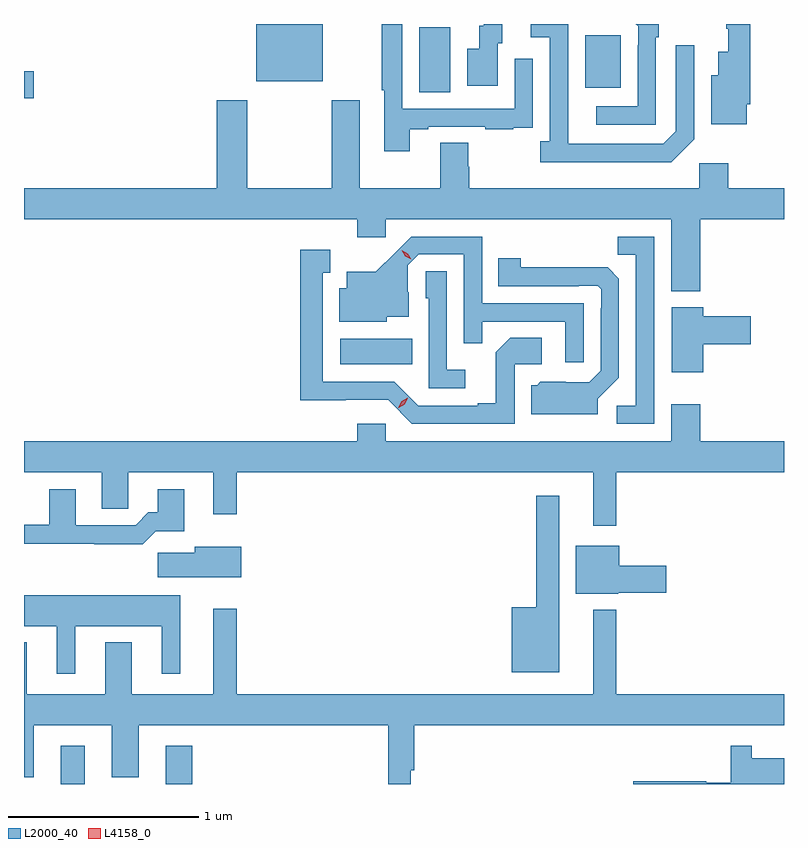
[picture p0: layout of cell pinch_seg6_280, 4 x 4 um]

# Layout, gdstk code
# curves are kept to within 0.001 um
import gdstk
lib = gdstk.Library(unit=1e-6, precision=1e-09)
def R(c, l, rs):  # rectangles x0, y0, x1, y1
    for r in rs: c.add(gdstk.rectangle(r[:2], r[2:], *l))
def P(c, l, *ps):  # polygons
    for p in ps: c.add(gdstk.Polygon(p, *l))
L2000_40 = (2000, 40)
L4158_0 = (4158, 0)

pinch_seg6_280 = lib.new_cell('pinch_seg6_280')
R(pinch_seg6_280, L2000_40, [(867.617,993.648,867.745,993.85), (868.169,993.648,868.31,993.85), (869.088,995.858,869.468,995.992), (867.424,997.258,867.475,997.4), (869.504,997.288,869.668,997.632), (870.377,997.313,870.565,997.588), (868.646,997.346,868.996,997.648)])
P(pinch_seg6_280, L2000_40, [(870.75,997.577),(870.765,997.577),(870.765,997.648),(870.644,997.648),(870.657,997.635),(870.657,997.535),(870.654,997.535),(870.654,997.215),(870.435,997.215),(870.435,997.119),(870.75,997.119)],
  [(869.917,997.548),(869.941,997.548),(869.941,997.648),(869.844,997.648),(869.844,997.638),(869.819,997.638),(869.819,997.519),(869.756,997.519),(869.756,997.323),(869.917,997.323)],
  [(869.455,997.095),(869.551,997.095),(869.551,997.107),(869.851,997.107),(869.851,997.095),(869.999,997.095),(869.999,997.101),(870.101,997.101),(870.101,997.21),(870.102,997.21),(870.102,997.465),(870.006,997.465),(870.006,997.203),(869.415,997.203),(869.415,997.648),(869.307,997.648),(869.307,997.3),(869.319,997.3),(869.319,996.978),(869.455,996.978)],
  [(871.228,997.225),(871.247,997.225),(871.247,997.648),(871.119,997.648),(871.119,997.623),(871.13,997.623),(871.13,997.501),(871.079,997.501),(871.079,997.378),(871.04,997.378),(871.04,997.121),(871.228,997.121)],
  [(870.951,997.041),(870.951,997.537),(870.855,997.537),(870.855,997.083),(870.789,997.017),(870.289,997.017),(870.288,997.648),(870.09,997.648),(870.09,997.578),(870.192,997.578),(870.192,997.03),(870.141,997.03),(870.141,996.92),(870.83,996.92)],
  [(869.044,997.246),(869.044,996.784),(868.599,996.784),(868.599,997.246),(868.439,997.246),(868.439,996.784),(867.424,996.784),(867.424,996.62),(869.177,996.62),(869.177,996.525),(869.328,996.525),(869.328,996.62),(870.83,996.62),(870.83,996.242),(870.983,996.242),(870.983,996.62),(871.424,996.62),(871.424,996.784),(871.13,996.784),(871.13,996.916),(870.978,996.916),(870.978,996.784),(869.768,996.784),(869.768,996.897),(869.763,996.897),(869.763,997.022),(869.615,997.022),(869.615,996.784),(869.191,996.784),(869.191,997.246)],
  [(870.369,996.177),(869.835,996.177),(869.835,996.528),(869.462,996.528),(869.275,996.343),(869.123,996.343),(869.123,996.256),(869.084,996.256),(869.084,996.08),(869.334,996.08),(869.334,996.107),(869.449,996.107),(869.449,996.236),(869.445,996.236),(869.445,996.378),(869.502,996.435),(869.739,996.435),(869.739,995.968),(869.837,995.968),(869.837,996.081),(870.273,996.081),(870.273,995.868),(870.369,995.868)],
  [(870.741,996.528),(870.55,996.528),(870.55,996.433),(870.645,996.433),(870.645,995.64),(870.543,995.64),(870.543,995.544),(870.741,995.544)],
  [(870.006,995.856),(870.148,995.856),(870.148,995.996),(869.983,995.996),(869.907,995.92),(869.907,995.653),(869.813,995.653),(869.813,995.64),(869.499,995.64),(869.373,995.766),(868.996,995.766),(868.996,996.339),(869.035,996.339),(869.035,996.46),(868.878,996.46),(868.878,995.669),(869.34,995.67),(869.466,995.544),(870.006,995.544)],
  [(870.445,995.676),(870.555,995.786),(870.555,996.308),(870.496,996.367),(870.039,996.368),(870.039,996.415),(869.92,996.415),(869.92,996.267),(870.344,996.267),(870.344,996.27),(870.444,996.27),(870.462,996.252),(870.462,996.152),(870.459,996.152),(870.459,995.823),(870.399,995.763),(870.142,995.764),(870.126,995.748),(870.095,995.748),(870.095,995.594),(870.445,995.594)],
  [(869.746,995.827),(869.649,995.827),(869.649,996.347),(869.538,996.347),(869.538,996.204),(869.553,996.204),(869.553,995.73),(869.746,995.73)],
  [(871,995.963),(871.249,995.963),(871.249,996.11),(871,996.11),(871,996.157),(870.833,996.157),(870.833,995.814),(871,995.814)],
  [(870.541,995.288),(871.424,995.288),(871.424,995.452),(870.983,995.452),(870.983,995.647),(870.83,995.647),(870.83,995.452),(869.328,995.452),(869.328,995.545),(869.177,995.545),(869.177,995.452),(867.424,995.452),(867.424,995.288),(867.833,995.288),(867.833,995.098),(867.972,995.098),(867.972,995.288),(868.421,995.288),(868.421,995.067),(868.543,995.067),(868.543,995.288),(870.419,995.288),(870.419,995.007),(870.541,995.007)],
  [(868.118,994.979),(868.267,994.979),(868.267,995.2),(868.127,995.2),(868.127,995.077),(868.078,995.077),(868.011,995.01),(867.697,995.01),(867.697,995.2),(867.557,995.2),(867.557,995.013),(867.424,995.013),(867.424,994.912),(867.793,994.912),(867.793,994.91),(868.049,994.91)],
  [(870.241,995.164),(870.12,995.164),(870.12,994.579),(869.99,994.579),(869.99,994.235),(870.241,994.235)],
  [(870.552,994.655),(870.805,994.655),(870.805,994.797),(870.556,994.797),(870.556,994.903),(870.329,994.903),(870.329,994.649),(870.552,994.649)],
  [(868.567,994.897),(868.322,994.897),(868.322,994.865),(868.128,994.865),(868.128,994.736),(868.567,994.736)],
  [(867.694,994.478),(868.148,994.478),(868.148,994.227),(868.246,994.227),(868.246,994.642),(867.424,994.642),(867.424,994.478),(867.596,994.478),(867.596,994.227),(867.694,994.227)],
  [(869.459,993.72),(869.477,993.72),(869.477,993.956),(871.424,993.956),(871.424,994.12),(870.541,994.12),(870.541,994.564),(870.419,994.564),(870.419,994.12),(868.543,994.12),(868.543,994.57),(868.421,994.57),(868.421,994.12),(867.991,994.12),(867.991,994.393),(867.851,994.393),(867.851,994.12),(867.439,994.12),(867.439,994.393),(867.424,994.393),(867.424,993.683),(867.475,993.683),(867.475,993.956),(867.887,993.956),(867.887,993.683),(868.027,993.683),(868.027,993.956),(869.341,993.956),(869.341,993.648),(869.459,993.648)],
  [(871.424,993.784),(871.255,993.784),(871.255,993.85),(871.145,993.85),(871.145,993.655),(871.014,993.655),(871.014,993.663),(870.63,993.663),(870.63,993.648),(871.424,993.648)])
P(pinch_seg6_280, L4158_0, [(869.461,996.41),(869.43,996.426),(869.413,996.456),(869.413,996.456),(869.413,996.456),(869.444,996.44),(869.461,996.41),(869.461,996.41)],
  [(869.395,995.629),(869.395,995.629),(869.413,995.662),(869.445,995.68),(869.445,995.68),(869.445,995.68),(869.427,995.648),(869.396,995.629)])

lib.write_gds('pinch_seg6_280.gds')
